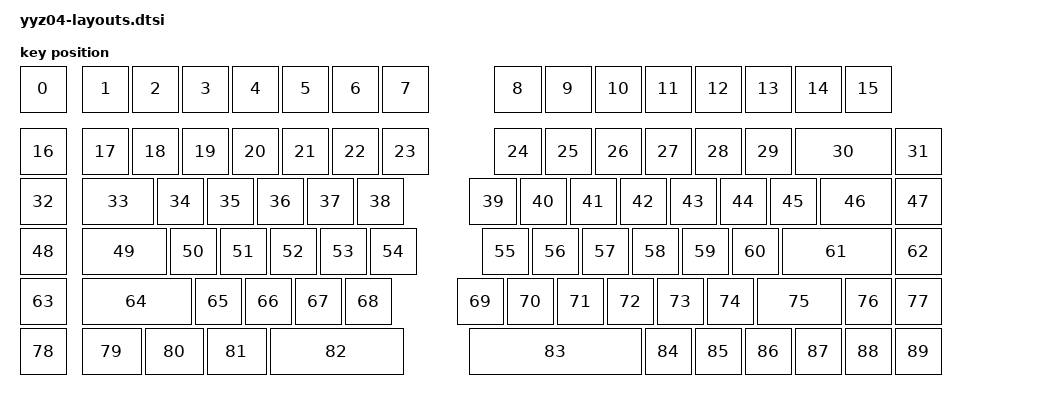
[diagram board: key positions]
#include <physical_layouts.dtsi>

/ {
    physical_layout0: physical_layout_0 {
        compatible = "zmk,physical-layout";
        display-name = "LAYOUT";

        kscan = <&kscan0>;
        transform = <&default_transform>;

        keys  //                     w   h    x    y     rot    rx    ry
            = <&key_physical_attrs 100 100    0    0       0     0     0>
            , <&key_physical_attrs 100 100  125    0       0     0     0>
            , <&key_physical_attrs 100 100  225    0       0     0     0>
            , <&key_physical_attrs 100 100  325    0       0     0     0>
            , <&key_physical_attrs 100 100  425    0       0     0     0>
            , <&key_physical_attrs 100 100  525    0       0     0     0>
            , <&key_physical_attrs 100 100  625    0       0     0     0>
            , <&key_physical_attrs 100 100  725    0       0     0     0>
            , <&key_physical_attrs 100 100  950    0       0     0     0>
            , <&key_physical_attrs 100 100 1050    0       0     0     0>
            , <&key_physical_attrs 100 100 1150    0       0     0     0>
            , <&key_physical_attrs 100 100 1250    0       0     0     0>
            , <&key_physical_attrs 100 100 1350    0       0     0     0>
            , <&key_physical_attrs 100 100 1450    0       0     0     0>
            , <&key_physical_attrs 100 100 1550    0       0     0     0>
            , <&key_physical_attrs 100 100 1650    0       0     0     0>
            , <&key_physical_attrs 100 100    0  125       0     0     0>
            , <&key_physical_attrs 100 100  125  125       0     0     0>
            , <&key_physical_attrs 100 100  225  125       0     0     0>
            , <&key_physical_attrs 100 100  325  125       0     0     0>
            , <&key_physical_attrs 100 100  425  125       0     0     0>
            , <&key_physical_attrs 100 100  525  125       0     0     0>
            , <&key_physical_attrs 100 100  625  125       0     0     0>
            , <&key_physical_attrs 100 100  725  125       0     0     0>
            , <&key_physical_attrs 100 100  950  125       0     0     0>
            , <&key_physical_attrs 100 100 1050  125       0     0     0>
            , <&key_physical_attrs 100 100 1150  125       0     0     0>
            , <&key_physical_attrs 100 100 1250  125       0     0     0>
            , <&key_physical_attrs 100 100 1350  125       0     0     0>
            , <&key_physical_attrs 100 100 1450  125       0     0     0>
            , <&key_physical_attrs 200 100 1550  125       0     0     0>
            , <&key_physical_attrs 100 100 1750  125       0     0     0>
            , <&key_physical_attrs 100 100    0  225       0     0     0>
            , <&key_physical_attrs 150 100  125  225       0     0     0>
            , <&key_physical_attrs 100 100  275  225       0     0     0>
            , <&key_physical_attrs 100 100  375  225       0     0     0>
            , <&key_physical_attrs 100 100  475  225       0     0     0>
            , <&key_physical_attrs 100 100  575  225       0     0     0>
            , <&key_physical_attrs 100 100  675  225       0     0     0>
            , <&key_physical_attrs 100 100  900  225       0     0     0>
            , <&key_physical_attrs 100 100 1000  225       0     0     0>
            , <&key_physical_attrs 100 100 1100  225       0     0     0>
            , <&key_physical_attrs 100 100 1200  225       0     0     0>
            , <&key_physical_attrs 100 100 1300  225       0     0     0>
            , <&key_physical_attrs 100 100 1400  225       0     0     0>
            , <&key_physical_attrs 100 100 1500  225       0     0     0>
            , <&key_physical_attrs 150 100 1600  225       0     0     0>
            , <&key_physical_attrs 100 100 1750  225       0     0     0>
            , <&key_physical_attrs 100 100    0  325       0     0     0>
            , <&key_physical_attrs 175 100  125  325       0     0     0>
            , <&key_physical_attrs 100 100  300  325       0     0     0>
            , <&key_physical_attrs 100 100  400  325       0     0     0>
            , <&key_physical_attrs 100 100  500  325       0     0     0>
            , <&key_physical_attrs 100 100  600  325       0     0     0>
            , <&key_physical_attrs 100 100  700  325       0     0     0>
            , <&key_physical_attrs 100 100  925  325       0     0     0>
            , <&key_physical_attrs 100 100 1025  325       0     0     0>
            , <&key_physical_attrs 100 100 1125  325       0     0     0>
            , <&key_physical_attrs 100 100 1225  325       0     0     0>
            , <&key_physical_attrs 100 100 1325  325       0     0     0>
            , <&key_physical_attrs 100 100 1425  325       0     0     0>
            , <&key_physical_attrs 225 100 1525  325       0     0     0>
            , <&key_physical_attrs 100 100 1750  325       0     0     0>
            , <&key_physical_attrs 100 100    0  425       0     0     0>
            , <&key_physical_attrs 225 100  125  425       0     0     0>
            , <&key_physical_attrs 100 100  350  425       0     0     0>
            , <&key_physical_attrs 100 100  450  425       0     0     0>
            , <&key_physical_attrs 100 100  550  425       0     0     0>
            , <&key_physical_attrs 100 100  650  425       0     0     0>
            , <&key_physical_attrs 100 100  875  425       0     0     0>
            , <&key_physical_attrs 100 100  975  425       0     0     0>
            , <&key_physical_attrs 100 100 1075  425       0     0     0>
            , <&key_physical_attrs 100 100 1175  425       0     0     0>
            , <&key_physical_attrs 100 100 1275  425       0     0     0>
            , <&key_physical_attrs 100 100 1375  425       0     0     0>
            , <&key_physical_attrs 175 100 1475  425       0     0     0>
            , <&key_physical_attrs 100 100 1650  425       0     0     0>
            , <&key_physical_attrs 100 100 1750  425       0     0     0>
            , <&key_physical_attrs 100 100    0  525       0     0     0>
            , <&key_physical_attrs 125 100  125  525       0     0     0>
            , <&key_physical_attrs 125 100  250  525       0     0     0>
            , <&key_physical_attrs 125 100  375  525       0     0     0>
            , <&key_physical_attrs 275 100  500  525       0     0     0>
            , <&key_physical_attrs 350 100  900  525       0     0     0>
            , <&key_physical_attrs 100 100 1250  525       0     0     0>
            , <&key_physical_attrs 100 100 1350  525       0     0     0>
            , <&key_physical_attrs 100 100 1450  525       0     0     0>
            , <&key_physical_attrs 100 100 1550  525       0     0     0>
            , <&key_physical_attrs 100 100 1650  525       0     0     0>
            , <&key_physical_attrs 100 100 1750  525       0     0     0>
            ;
    };
};
